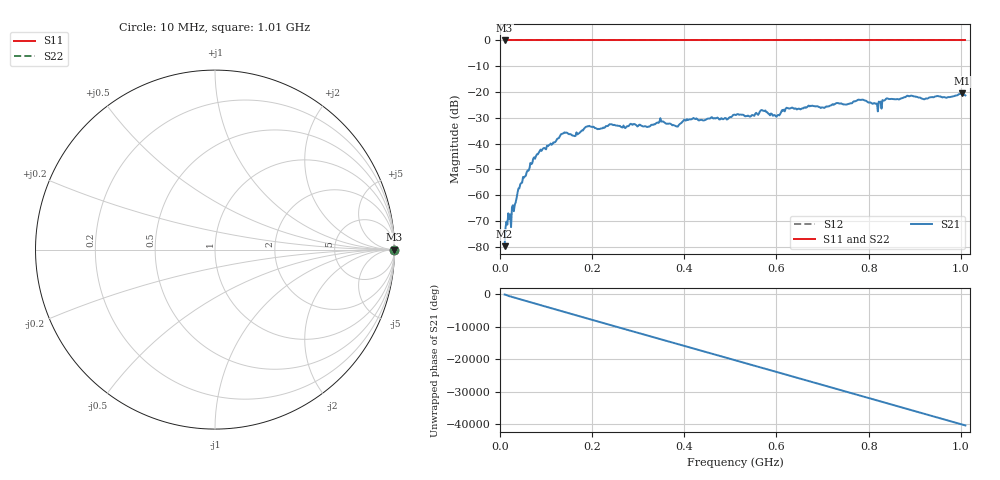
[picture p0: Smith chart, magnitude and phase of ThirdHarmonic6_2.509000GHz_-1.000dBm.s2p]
! 8/17/2025 4:51:59 AM
! C:\ANRITSUVNA\TEMP\TEMP.S2P
! CHANNEL.1
! TR.MEASUREMENT
! RAW.DATA
! RF.CORRECTION.OFF
! AVERAGING.OFF
! IF.BANDWIDTH: 5KHZ
! SWEEPTYPE:  FREQ.SWEEP(Linear)
! Reference Plane Port Info
! PORT:  PORT1  PORT2
! DISTANCE:  0  m  0  m
! TIME:  0  s  0  s
! PHASE.OFFSET:  0  deg.  0  deg.
! LOSS:  0  dB  0  dB
! REF.LOSS:  0  dB  0  dB
! REF.FREQ:  0  Hz  0  Hz
! Power Info
! POWER:  -20  dBm  -20  dBm
! EFF.POWER:  -20  dBm  -20  dBm
! SOURCE.ATTEN:  0  dB  0  dB
! TEST.ATTEN:  0  dB  0  dB
# GHZ S RI R 50.0
! FREQ.GHZ  S11RE  S11IM  S21RE  S21IM  S12RE  S12IM  S22RE  S22IM
!; PortSelection: Port_12
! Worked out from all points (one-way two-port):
!   501 points, 10 MHz to 1.01 GHz, reference 50 ohm
!   highest |S21| = -20.55 dB at 1.002 GHz (marker M1); lowest = -79.7 dB at 10 MHz (marker M2)
!   lowest |S11| = 0.0 dB at 10 MHz (marker M3)
!   |S11| at or under -10 dB: nowhere
!   |S22| runs from 0.0 to 0.0 dB; largest |S21 - S12| = 1.1
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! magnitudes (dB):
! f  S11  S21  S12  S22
! 10 MHz  0.0  -79.7  0.0  0.0
! 16 MHz  0.0  -71.4  0.0  0.0
! 28 MHz  0.0  -63.9  0.0  0.0
! 42 MHz  0.0  -57.3  0.0  0.0
! 76 MHz  0.0  -45.9  0.0  0.0
! 136 MHz  0.0  -36.1  0.0  0.0
! 160 MHz  0.0  -36.9  0.0  0.0
! 178 MHz  0.0  -34.9  0.0  0.0
! 322 MHz  0.0  -33.4  0.0  0.0
! 344 MHz  0.0  -32.0  0.0  0.0
! 384 MHz  0.0  -33.4  0.0  0.0
! 402 MHz  0.0  -31.0  0.0  0.0
! 510 MHz  0.0  -28.8  0.0  0.0
! 570 MHz  0.0  -27.2  0.0  0.0
! 602 MHz  0.0  -29.0  0.0  0.0
! 624 MHz  0.0  -26.2  0.0  0.0
! 678 MHz  0.0  -25.3  0.0  0.0
! 782 MHz  0.0  -23.0  0.0  0.0
! 824 MHz  0.0  -23.9  0.0  0.0
! 844 MHz  0.0  -22.7  0.0  0.0
! 1.002 GHz  0.0  -20.6  0.0  0.0
! 1.01 GHz  0.0  -21.3  0.0  0.0
